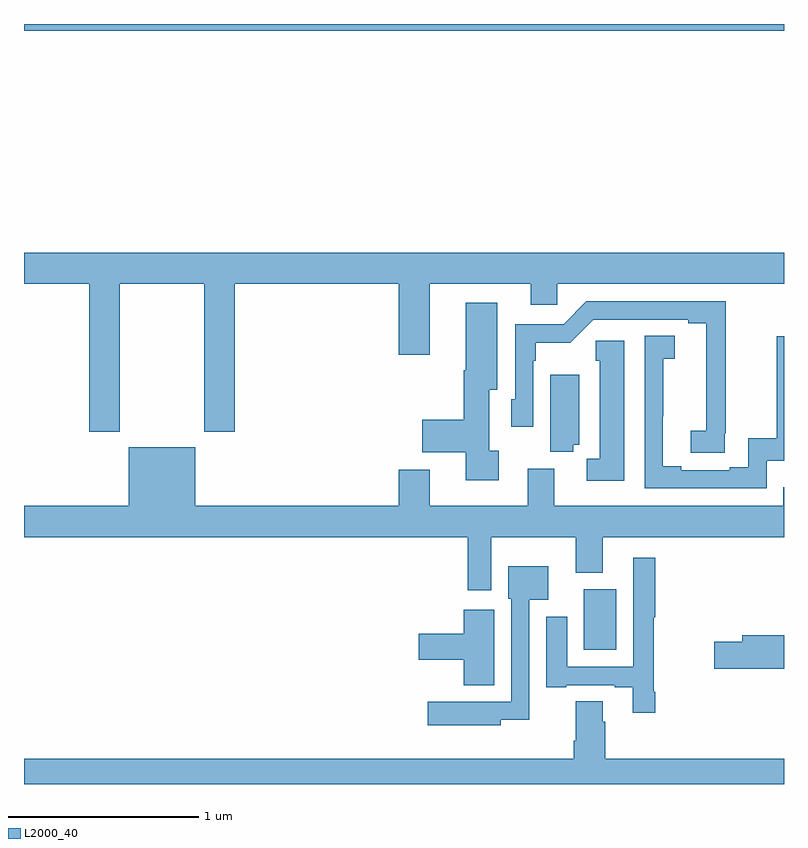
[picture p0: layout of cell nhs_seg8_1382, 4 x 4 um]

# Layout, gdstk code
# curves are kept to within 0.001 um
import gdstk
lib = gdstk.Library(unit=1e-6, precision=1e-09)
def R(c, l, rs):  # rectangles x0, y0, x1, y1
    for r in rs: c.add(gdstk.rectangle(r[:2], r[2:], *l))
def P(c, l, *ps):  # polygons
    for p in ps: c.add(gdstk.Polygon(p, *l))
L2000_40 = (2000, 40)

nhs_seg8_1382 = lib.new_cell('nhs_seg8_1382')
R(nhs_seg8_1382, L2000_40, [(201.947,1082.606,202.117,1082.926), (199,1085.864,203,1085.9)])
P(nhs_seg8_1382, L2000_40, [(199.503,1084.532),(199.948,1084.532),(199.948,1083.753),(200.108,1083.753),(200.108,1084.532),(200.972,1084.532),(200.972,1084.158),(201.136,1084.158),(201.136,1084.532),(201.668,1084.532),(201.668,1084.422),(201.807,1084.422),(201.807,1084.532),(203,1084.532),(203,1084.696),(199,1084.696),(199,1084.532),(199.343,1084.532),(199.343,1083.753),(199.503,1083.753)],
  [(202.688,1083.745),(202.694,1083.745),(202.694,1084.44),(201.96,1084.44),(201.84,1084.32),(201.585,1084.32),(201.585,1083.924),(201.564,1083.924),(201.564,1083.78),(201.681,1083.78),(201.681,1084.127),(201.694,1084.127),(201.694,1084.223),(201.875,1084.223),(201.996,1084.344),(202.496,1084.344),(202.496,1084.324),(202.592,1084.324),(202.591,1083.758),(202.509,1083.758),(202.509,1083.643),(202.688,1083.643)],
  [(201.499,1083.654),(201.448,1083.654),(201.448,1083.974),(201.49,1083.974),(201.49,1084.432),(201.326,1084.432),(201.326,1084.078),(201.314,1084.078),(201.314,1083.818),(201.096,1083.818),(201.096,1083.647),(201.326,1083.647),(201.326,1083.498),(201.499,1083.498)],
  [(202.908,1083.602),(203,1083.602),(203,1084.257),(202.963,1084.257),(202.963,1083.719),(202.812,1083.719),(202.812,1083.566),(202.715,1083.566),(202.715,1083.552),(202.459,1083.552),(202.459,1083.572),(202.363,1083.572),(202.363,1083.835),(202.365,1083.835),(202.365,1084.139),(202.426,1084.139),(202.426,1084.259),(202.266,1084.259),(202.266,1083.456),(202.908,1083.456)],
  [(202.159,1084.234),(202.009,1084.234),(202.009,1084.128),(202.031,1084.128),(202.031,1083.612),(201.963,1083.612),(201.963,1083.497),(202.159,1083.497)],
  [(201.89,1083.686),(201.922,1083.686),(201.922,1084.054),(201.77,1084.054),(201.77,1083.649),(201.89,1083.649)],
  [(201.46,1083.2),(201.905,1083.2),(201.905,1083.011),(202.045,1083.011),(202.045,1083.2),(203,1083.2),(203,1083.462),(202.997,1083.462),(202.997,1083.364),(201.79,1083.364),(201.79,1083.559),(201.65,1083.559),(201.65,1083.364),(201.136,1083.364),(201.136,1083.553),(200.972,1083.553),(200.972,1083.364),(199.9,1083.364),(199.9,1083.673),(199.55,1083.673),(199.55,1083.364),(199,1083.364),(199,1083.2),(201.335,1083.2),(201.335,1082.919),(201.46,1082.919)],
  [(202.322,1082.386),(202.315,1082.386),(202.315,1082.778),(202.322,1082.778),(202.322,1083.091),(202.206,1083.091),(202.206,1082.517),(201.859,1082.517),(201.859,1082.779),(201.749,1082.779),(201.749,1082.409),(201.853,1082.409),(201.853,1082.421),(202.109,1082.421),(202.109,1082.409),(202.205,1082.409),(202.205,1082.274),(202.322,1082.274)],
  [(201.51,1082.237),(201.66,1082.237),(201.66,1082.87),(201.76,1082.87),(201.76,1083.046),(201.548,1083.046),(201.548,1082.874),(201.564,1082.874),(201.564,1082.334),(201.348,1082.334),(201.348,1082.332),(201.126,1082.332),(201.126,1082.21),(201.51,1082.21)],
  [(201.475,1082.818),(201.314,1082.818),(201.314,1082.69),(201.078,1082.69),(201.078,1082.555),(201.314,1082.555),(201.314,1082.419),(201.475,1082.419)],
  [(203,1082.684),(202.781,1082.684),(202.781,1082.648),(202.632,1082.648),(202.632,1082.506),(203,1082.506)],
  [(203,1082.032),(202.058,1082.032),(202.058,1082.228),(202.045,1082.228),(202.045,1082.336),(201.905,1082.336),(201.905,1082.128),(201.893,1082.128),(201.893,1082.032),(199,1082.032),(199,1081.9),(203,1081.9)])

lib.write_gds('nhs_seg8_1382.gds')
